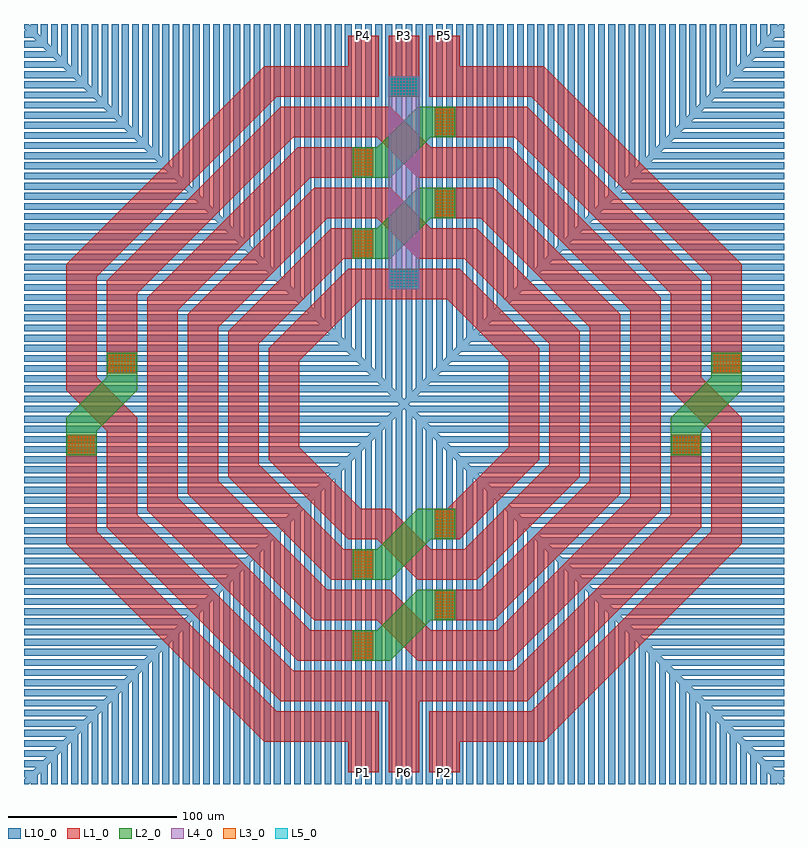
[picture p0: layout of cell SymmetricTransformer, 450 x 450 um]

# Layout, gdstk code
import gdstk
lib = gdstk.Library(unit=1e-6, precision=1e-09)
def R(c, l, rs):  # rectangles x0, y0, x1, y1
    for r in rs: c.add(gdstk.rectangle(r[:2], r[2:], *l))
def A(c, l, x, y, w, h, nx, ny, dx, dy):  # array of equal rectangles
    R(c, l, [(x+i*dx, y+j*dy, x+i*dx+w, y+j*dy+h) for i in range(nx) for j in range(ny)])
def P(c, l, *ps):  # polygons
    for p in ps: c.add(gdstk.Polygon(p, *l))
L1_0 = (1, 0)
L2_0 = (2, 0)
L3_0 = (3, 0)
L4_0 = (4, 0)
L5_0 = (5, 0)
L10_0 = (10, 0)

symmetrictransformer = lib.new_cell('SymmetricTransformer')
A(symmetrictransformer, L1_0, -152, -18.213, 18, 36.426, 4, 1, 24, 0)
A(symmetrictransformer, L1_0, 62, -18.213, 18, 36.426, 4, 1, 24, 0)
R(symmetrictransformer, L1_0, [(-9,-218,9,-182), (-9,-194,9,-176), (-18.213,-176,18.213,-158), (-18.213,62,18.213,80), (-9,68,9,80), (-9,182,9,218)])
P(symmetrictransformer, L1_0, [(-18.213,200),(-82.843,200),(-200,82.843),(-200,18.213),(-182,18.213),(-182,75.387),(-75.387,182),(-18.213,182)],
  [(-200,-18.213),(-200,-82.843),(-82.843,-200),(-18.213,-200),(-18.213,-182),(-75.387,-182),(-182,-75.387),(-182,-18.213)],
  [(200,18.213),(200,82.843),(82.843,200),(18.213,200),(18.213,182),(75.387,182),(182,75.387),(182,18.213)],
  [(18.213,-200),(82.843,-200),(200,-82.843),(200,-18.213),(182,-18.213),(182,-75.387),(75.387,-182),(18.213,-182)],
  [(-176,-18.213),(-176,-15.728),(-200,8.272),(-200,18.213),(-182,18.213),(-182,15.728),(-158,-8.272),(-158,-18.213)],
  [(182,-18.213),(182,-15.728),(158,8.272),(158,18.213),(176,18.213),(176,15.728),(200,-8.272),(200,-18.213)],
  [(-18.213,176),(-72.902,176),(-176,72.902),(-176,18.213),(-158,18.213),(-158,65.446),(-65.446,158),(-18.213,158)],
  [(-176,-18.213),(-176,-72.902),(-72.902,-176),(-18.213,-176),(-18.213,-158),(-65.446,-158),(-158,-65.446),(-158,-18.213)],
  [(176,18.213),(176,72.902),(72.902,176),(18.213,176),(18.213,158),(65.446,158),(158,65.446),(158,18.213)],
  [(18.213,-176),(72.902,-176),(176,-72.902),(176,-18.213),(158,-18.213),(158,-65.446),(65.446,-158),(18.213,-158)],
  [(18.213,152),(15.728,152),(-8.272,176),(-18.213,176),(-18.213,158),(-15.728,158),(8.272,134),(18.213,134)],
  [(-18.213,152),(-62.96,152),(-152,62.96),(-152,18.213),(-134,18.213),(-134,55.505),(-55.505,134),(-18.213,134)],
  [(-152,-18.213),(-152,-62.96),(-62.96,-152),(-18.213,-152),(-18.213,-134),(-55.505,-134),(-134,-55.505),(-134,-18.213)],
  [(152,18.213),(152,62.96),(62.96,152),(18.213,152),(18.213,134),(55.505,134),(134,55.505),(134,18.213)],
  [(18.213,-152),(62.96,-152),(152,-62.96),(152,-18.213),(134,-18.213),(134,-55.505),(55.505,-134),(18.213,-134)],
  [(18.213,-134),(15.728,-134),(-8.272,-110),(-18.213,-110),(-18.213,-128),(-15.728,-128),(8.272,-152),(18.213,-152)],
  [(-18.213,128),(-53.019,128),(-128,53.019),(-128,18.213),(-110,18.213),(-110,45.563),(-45.563,110),(-18.213,110)],
  [(-128,-18.213),(-128,-53.019),(-53.019,-128),(-18.213,-128),(-18.213,-110),(-45.563,-110),(-110,-45.563),(-110,-18.213)],
  [(128,18.213),(128,53.019),(53.019,128),(18.213,128),(18.213,110),(45.563,110),(110,45.563),(110,18.213)],
  [(18.213,-128),(53.019,-128),(128,-53.019),(128,-18.213),(110,-18.213),(110,-45.563),(45.563,-110),(18.213,-110)],
  [(18.213,104),(15.728,104),(-8.272,128),(-18.213,128),(-18.213,110),(-15.728,110),(8.272,86),(18.213,86)],
  [(-18.213,104),(-43.078,104),(-104,43.078),(-104,18.213),(-86,18.213),(-86,35.622),(-35.622,86),(-18.213,86)],
  [(-104,-18.213),(-104,-43.078),(-43.078,-104),(-18.213,-104),(-18.213,-86),(-35.622,-86),(-86,-35.622),(-86,-18.213)],
  [(104,18.213),(104,43.078),(43.078,104),(18.213,104),(18.213,86),(35.622,86),(86,35.622),(86,18.213)],
  [(18.213,-104),(43.078,-104),(104,-43.078),(104,-18.213),(86,-18.213),(86,-35.622),(35.622,-86),(18.213,-86)],
  [(18.213,-86),(15.728,-86),(-8.272,-62),(-18.213,-62),(-18.213,-80),(-15.728,-80),(8.272,-104),(18.213,-104)],
  [(-18.213,80),(-33.137,80),(-80,33.137),(-80,18.213),(-62,18.213),(-62,25.681),(-25.681,62),(-18.213,62)],
  [(-80,-18.213),(-80,-33.137),(-33.137,-80),(-18.213,-80),(-18.213,-62),(-25.681,-62),(-62,-25.681),(-62,-18.213)],
  [(80,18.213),(80,33.137),(33.137,80),(18.213,80),(18.213,62),(25.681,62),(62,25.681),(62,18.213)],
  [(18.213,-80),(33.137,-80),(80,-33.137),(80,-18.213),(62,-18.213),(62,-25.681),(25.681,-62),(18.213,-62)],
  [(-18.213,-182),(-15,-182),(-15,-218),(-33,-218),(-33,-200),(-18.213,-200)],
  [(18.213,-182),(15,-182),(15,-218),(33,-218),(33,-200),(18.213,-200)],
  [(-18.213,182),(-15,182),(-15,218),(-33,218),(-33,200),(-18.213,200)],
  [(18.213,182),(15,182),(15,218),(33,218),(33,200),(18.213,200)])
R(symmetrictransformer, L2_0, [(-9,68,9,80), (-9,182,9,194)])
P(symmetrictransformer, L2_0, [(176,-30.213),(176,-18.213),(176,-15.728),(200,8.272),(200,18.213),(200,30.213),(182,30.213),(182,18.213),(182,15.728),(158,-8.272),(158,-18.213),(158,-30.213)],
  [(-182,-30.213),(-182,-18.213),(-182,-15.728),(-158,8.272),(-158,18.213),(-158,30.213),(-176,30.213),(-176,18.213),(-176,15.728),(-200,-8.272),(-200,-18.213),(-200,-30.213)],
  [(-30.213,152),(-18.213,152),(-15.728,152),(8.272,176),(18.213,176),(30.213,176),(30.213,158),(18.213,158),(15.728,158),(-8.272,134),(-18.213,134),(-30.213,134)],
  [(-30.213,-134),(-18.213,-134),(-15.728,-134),(8.272,-110),(18.213,-110),(30.213,-110),(30.213,-128),(18.213,-128),(15.728,-128),(-8.272,-152),(-18.213,-152),(-30.213,-152)],
  [(-30.213,104),(-18.213,104),(-15.728,104),(8.272,128),(18.213,128),(30.213,128),(30.213,110),(18.213,110),(15.728,110),(-8.272,86),(-18.213,86),(-30.213,86)],
  [(-30.213,-86),(-18.213,-86),(-15.728,-86),(8.272,-62),(18.213,-62),(30.213,-62),(30.213,-80),(18.213,-80),(15.728,-80),(-8.272,-104),(-18.213,-104),(-30.213,-104)])
A(symmetrictransformer, L3_0, -29.213, -150.7, 1, 1, 6, 9, 1.8, 1.8)
A(symmetrictransformer, L3_0, 19.213, -126.7, 1, 1, 6, 9, 1.8, 1.8)
A(symmetrictransformer, L3_0, -29.213, -102.7, 1, 1, 6, 9, 1.8, 1.8)
A(symmetrictransformer, L3_0, 19.213, -78.7, 1, 1, 6, 9, 1.8, 1.8)
A(symmetrictransformer, L3_0, -198.7, -29.213, 1, 1, 9, 6, 1.8, 1.8)
A(symmetrictransformer, L3_0, 159.3, -29.213, 1, 1, 9, 6, 1.8, 1.8)
A(symmetrictransformer, L3_0, -174.7, 19.213, 1, 1, 9, 6, 1.8, 1.8)
A(symmetrictransformer, L3_0, 183.3, 19.213, 1, 1, 9, 6, 1.8, 1.8)
A(symmetrictransformer, L3_0, -7.7, 69, 1, 1, 9, 6, 1.8, 1.8)
A(symmetrictransformer, L3_0, -29.213, 87.3, 1, 1, 6, 9, 1.8, 1.8)
A(symmetrictransformer, L3_0, 19.213, 111.3, 1, 1, 6, 9, 1.8, 1.8)
A(symmetrictransformer, L3_0, -29.213, 135.3, 1, 1, 6, 9, 1.8, 1.8)
A(symmetrictransformer, L3_0, 19.213, 159.3, 1, 1, 6, 9, 1.8, 1.8)
A(symmetrictransformer, L3_0, -7.7, 183, 1, 1, 9, 6, 1.8, 1.8)
R(symmetrictransformer, L4_0, [(-9,68,9,80), (-9,80,9,194), (-9,182,9,194)])
A(symmetrictransformer, L5_0, -7.7, 69, 1, 1, 9, 6, 1.8, 1.8)
A(symmetrictransformer, L5_0, -7.7, 183, 1, 1, 9, 6, 1.8, 1.8)
P(symmetrictransformer, L10_0, [(-3.828,1),(-225,1),(-225,5),(-7.828,5)],
  [(3.828,1),(225,1),(225,5),(7.828,5)],
  [(-3.828,-1),(-225,-1),(-225,-5),(-7.828,-5)],
  [(3.828,-1),(225,-1),(225,-5),(7.828,-5)],
  [(1,-3.828),(1,-225),(5,-225),(5,-7.828)],
  [(-1,-3.828),(-1,-225),(-5,-225),(-5,-7.828)],
  [(1,3.828),(1,225),(5,225),(5,7.828)],
  [(-1,3.828),(-1,225),(-5,225),(-5,7.828)],
  [(-9.828,7),(-225,7),(-225,11),(-13.828,11)],
  [(9.828,7),(225,7),(225,11),(13.828,11)],
  [(-9.828,-7),(-225,-7),(-225,-11),(-13.828,-11)],
  [(9.828,-7),(225,-7),(225,-11),(13.828,-11)],
  [(7,-9.828),(7,-225),(11,-225),(11,-13.828)],
  [(-7,-9.828),(-7,-225),(-11,-225),(-11,-13.828)],
  [(7,9.828),(7,225),(11,225),(11,13.828)],
  [(-7,9.828),(-7,225),(-11,225),(-11,13.828)],
  [(-15.828,13),(-225,13),(-225,17),(-19.828,17)],
  [(15.828,13),(225,13),(225,17),(19.828,17)],
  [(-15.828,-13),(-225,-13),(-225,-17),(-19.828,-17)],
  [(15.828,-13),(225,-13),(225,-17),(19.828,-17)],
  [(13,-15.828),(13,-225),(17,-225),(17,-19.828)],
  [(-13,-15.828),(-13,-225),(-17,-225),(-17,-19.828)],
  [(13,15.828),(13,225),(17,225),(17,19.828)],
  [(-13,15.828),(-13,225),(-17,225),(-17,19.828)],
  [(-21.828,19),(-225,19),(-225,23),(-25.828,23)],
  [(21.828,19),(225,19),(225,23),(25.828,23)],
  [(-21.828,-19),(-225,-19),(-225,-23),(-25.828,-23)],
  [(21.828,-19),(225,-19),(225,-23),(25.828,-23)],
  [(19,-21.828),(19,-225),(23,-225),(23,-25.828)],
  [(-19,-21.828),(-19,-225),(-23,-225),(-23,-25.828)],
  [(19,21.828),(19,225),(23,225),(23,25.828)],
  [(-19,21.828),(-19,225),(-23,225),(-23,25.828)],
  [(-27.828,25),(-225,25),(-225,29),(-31.828,29)],
  [(27.828,25),(225,25),(225,29),(31.828,29)],
  [(-27.828,-25),(-225,-25),(-225,-29),(-31.828,-29)],
  [(27.828,-25),(225,-25),(225,-29),(31.828,-29)],
  [(25,-27.828),(25,-225),(29,-225),(29,-31.828)],
  [(-25,-27.828),(-25,-225),(-29,-225),(-29,-31.828)],
  [(25,27.828),(25,225),(29,225),(29,31.828)],
  [(-25,27.828),(-25,225),(-29,225),(-29,31.828)],
  [(-33.828,31),(-225,31),(-225,35),(-37.828,35)],
  [(33.828,31),(225,31),(225,35),(37.828,35)],
  [(-33.828,-31),(-225,-31),(-225,-35),(-37.828,-35)],
  [(33.828,-31),(225,-31),(225,-35),(37.828,-35)],
  [(31,-33.828),(31,-225),(35,-225),(35,-37.828)],
  [(-31,-33.828),(-31,-225),(-35,-225),(-35,-37.828)],
  [(31,33.828),(31,225),(35,225),(35,37.828)],
  [(-31,33.828),(-31,225),(-35,225),(-35,37.828)],
  [(-39.828,37),(-225,37),(-225,41),(-43.828,41)],
  [(39.828,37),(225,37),(225,41),(43.828,41)],
  [(-39.828,-37),(-225,-37),(-225,-41),(-43.828,-41)],
  [(39.828,-37),(225,-37),(225,-41),(43.828,-41)],
  [(37,-39.828),(37,-225),(41,-225),(41,-43.828)],
  [(-37,-39.828),(-37,-225),(-41,-225),(-41,-43.828)],
  [(37,39.828),(37,225),(41,225),(41,43.828)],
  [(-37,39.828),(-37,225),(-41,225),(-41,43.828)],
  [(-45.828,43),(-225,43),(-225,47),(-49.828,47)],
  [(45.828,43),(225,43),(225,47),(49.828,47)],
  [(-45.828,-43),(-225,-43),(-225,-47),(-49.828,-47)],
  [(45.828,-43),(225,-43),(225,-47),(49.828,-47)],
  [(43,-45.828),(43,-225),(47,-225),(47,-49.828)],
  [(-43,-45.828),(-43,-225),(-47,-225),(-47,-49.828)],
  [(43,45.828),(43,225),(47,225),(47,49.828)],
  [(-43,45.828),(-43,225),(-47,225),(-47,49.828)],
  [(-51.828,49),(-225,49),(-225,53),(-55.828,53)],
  [(51.828,49),(225,49),(225,53),(55.828,53)],
  [(-51.828,-49),(-225,-49),(-225,-53),(-55.828,-53)],
  [(51.828,-49),(225,-49),(225,-53),(55.828,-53)],
  [(49,-51.828),(49,-225),(53,-225),(53,-55.828)],
  [(-49,-51.828),(-49,-225),(-53,-225),(-53,-55.828)],
  [(49,51.828),(49,225),(53,225),(53,55.828)],
  [(-49,51.828),(-49,225),(-53,225),(-53,55.828)],
  [(-57.828,55),(-225,55),(-225,59),(-61.828,59)],
  [(57.828,55),(225,55),(225,59),(61.828,59)],
  [(-57.828,-55),(-225,-55),(-225,-59),(-61.828,-59)],
  [(57.828,-55),(225,-55),(225,-59),(61.828,-59)],
  [(55,-57.828),(55,-225),(59,-225),(59,-61.828)],
  [(-55,-57.828),(-55,-225),(-59,-225),(-59,-61.828)],
  [(55,57.828),(55,225),(59,225),(59,61.828)],
  [(-55,57.828),(-55,225),(-59,225),(-59,61.828)],
  [(-63.828,61),(-225,61),(-225,65),(-67.828,65)],
  [(63.828,61),(225,61),(225,65),(67.828,65)],
  [(-63.828,-61),(-225,-61),(-225,-65),(-67.828,-65)],
  [(63.828,-61),(225,-61),(225,-65),(67.828,-65)],
  [(61,-63.828),(61,-225),(65,-225),(65,-67.828)],
  [(-61,-63.828),(-61,-225),(-65,-225),(-65,-67.828)],
  [(61,63.828),(61,225),(65,225),(65,67.828)],
  [(-61,63.828),(-61,225),(-65,225),(-65,67.828)],
  [(-69.828,67),(-225,67),(-225,71),(-73.828,71)],
  [(69.828,67),(225,67),(225,71),(73.828,71)],
  [(-69.828,-67),(-225,-67),(-225,-71),(-73.828,-71)],
  [(69.828,-67),(225,-67),(225,-71),(73.828,-71)],
  [(67,-69.828),(67,-225),(71,-225),(71,-73.828)],
  [(-67,-69.828),(-67,-225),(-71,-225),(-71,-73.828)],
  [(67,69.828),(67,225),(71,225),(71,73.828)],
  [(-67,69.828),(-67,225),(-71,225),(-71,73.828)],
  [(-75.828,73),(-225,73),(-225,77),(-79.828,77)],
  [(75.828,73),(225,73),(225,77),(79.828,77)],
  [(-75.828,-73),(-225,-73),(-225,-77),(-79.828,-77)],
  [(75.828,-73),(225,-73),(225,-77),(79.828,-77)],
  [(73,-75.828),(73,-225),(77,-225),(77,-79.828)],
  [(-73,-75.828),(-73,-225),(-77,-225),(-77,-79.828)],
  [(73,75.828),(73,225),(77,225),(77,79.828)],
  [(-73,75.828),(-73,225),(-77,225),(-77,79.828)],
  [(-81.828,79),(-225,79),(-225,83),(-85.828,83)],
  [(81.828,79),(225,79),(225,83),(85.828,83)],
  [(-81.828,-79),(-225,-79),(-225,-83),(-85.828,-83)],
  [(81.828,-79),(225,-79),(225,-83),(85.828,-83)],
  [(79,-81.828),(79,-225),(83,-225),(83,-85.828)],
  [(-79,-81.828),(-79,-225),(-83,-225),(-83,-85.828)],
  [(79,81.828),(79,225),(83,225),(83,85.828)],
  [(-79,81.828),(-79,225),(-83,225),(-83,85.828)],
  [(-87.828,85),(-225,85),(-225,89),(-91.828,89)],
  [(87.828,85),(225,85),(225,89),(91.828,89)],
  [(-87.828,-85),(-225,-85),(-225,-89),(-91.828,-89)],
  [(87.828,-85),(225,-85),(225,-89),(91.828,-89)],
  [(85,-87.828),(85,-225),(89,-225),(89,-91.828)],
  [(-85,-87.828),(-85,-225),(-89,-225),(-89,-91.828)],
  [(85,87.828),(85,225),(89,225),(89,91.828)],
  [(-85,87.828),(-85,225),(-89,225),(-89,91.828)],
  [(-93.828,91),(-225,91),(-225,95),(-97.828,95)],
  [(93.828,91),(225,91),(225,95),(97.828,95)],
  [(-93.828,-91),(-225,-91),(-225,-95),(-97.828,-95)],
  [(93.828,-91),(225,-91),(225,-95),(97.828,-95)],
  [(91,-93.828),(91,-225),(95,-225),(95,-97.828)],
  [(-91,-93.828),(-91,-225),(-95,-225),(-95,-97.828)],
  [(91,93.828),(91,225),(95,225),(95,97.828)],
  [(-91,93.828),(-91,225),(-95,225),(-95,97.828)],
  [(-99.828,97),(-225,97),(-225,101),(-103.828,101)],
  [(99.828,97),(225,97),(225,101),(103.828,101)],
  [(-99.828,-97),(-225,-97),(-225,-101),(-103.828,-101)],
  [(99.828,-97),(225,-97),(225,-101),(103.828,-101)],
  [(97,-99.828),(97,-225),(101,-225),(101,-103.828)],
  [(-97,-99.828),(-97,-225),(-101,-225),(-101,-103.828)],
  [(97,99.828),(97,225),(101,225),(101,103.828)],
  [(-97,99.828),(-97,225),(-101,225),(-101,103.828)],
  [(-105.828,103),(-225,103),(-225,107),(-109.828,107)],
  [(105.828,103),(225,103),(225,107),(109.828,107)],
  [(-105.828,-103),(-225,-103),(-225,-107),(-109.828,-107)],
  [(105.828,-103),(225,-103),(225,-107),(109.828,-107)],
  [(103,-105.828),(103,-225),(107,-225),(107,-109.828)],
  [(-103,-105.828),(-103,-225),(-107,-225),(-107,-109.828)],
  [(103,105.828),(103,225),(107,225),(107,109.828)],
  [(-103,105.828),(-103,225),(-107,225),(-107,109.828)],
  [(-111.828,109),(-225,109),(-225,113),(-115.828,113)],
  [(111.828,109),(225,109),(225,113),(115.828,113)],
  [(-111.828,-109),(-225,-109),(-225,-113),(-115.828,-113)],
  [(111.828,-109),(225,-109),(225,-113),(115.828,-113)],
  [(109,-111.828),(109,-225),(113,-225),(113,-115.828)],
  [(-109,-111.828),(-109,-225),(-113,-225),(-113,-115.828)],
  [(109,111.828),(109,225),(113,225),(113,115.828)],
  [(-109,111.828),(-109,225),(-113,225),(-113,115.828)],
  [(-117.828,115),(-225,115),(-225,119),(-121.828,119)],
  [(117.828,115),(225,115),(225,119),(121.828,119)],
  [(-117.828,-115),(-225,-115),(-225,-119),(-121.828,-119)],
  [(117.828,-115),(225,-115),(225,-119),(121.828,-119)],
  [(115,-117.828),(115,-225),(119,-225),(119,-121.828)],
  [(-115,-117.828),(-115,-225),(-119,-225),(-119,-121.828)],
  [(115,117.828),(115,225),(119,225),(119,121.828)],
  [(-115,117.828),(-115,225),(-119,225),(-119,121.828)],
  [(-123.828,121),(-225,121),(-225,125),(-127.828,125)],
  [(123.828,121),(225,121),(225,125),(127.828,125)],
  [(-123.828,-121),(-225,-121),(-225,-125),(-127.828,-125)],
  [(123.828,-121),(225,-121),(225,-125),(127.828,-125)],
  [(121,-123.828),(121,-225),(125,-225),(125,-127.828)],
  [(-121,-123.828),(-121,-225),(-125,-225),(-125,-127.828)],
  [(121,123.828),(121,225),(125,225),(125,127.828)],
  [(-121,123.828),(-121,225),(-125,225),(-125,127.828)],
  [(-129.828,127),(-225,127),(-225,131),(-133.828,131)],
  [(129.828,127),(225,127),(225,131),(133.828,131)],
  [(-129.828,-127),(-225,-127),(-225,-131),(-133.828,-131)],
  [(129.828,-127),(225,-127),(225,-131),(133.828,-131)],
  [(127,-129.828),(127,-225),(131,-225),(131,-133.828)],
  [(-127,-129.828),(-127,-225),(-131,-225),(-131,-133.828)],
  [(127,129.828),(127,225),(131,225),(131,133.828)],
  [(-127,129.828),(-127,225),(-131,225),(-131,133.828)],
  [(-135.828,133),(-225,133),(-225,137),(-139.828,137)],
  [(135.828,133),(225,133),(225,137),(139.828,137)],
  [(-135.828,-133),(-225,-133),(-225,-137),(-139.828,-137)],
  [(135.828,-133),(225,-133),(225,-137),(139.828,-137)],
  [(133,-135.828),(133,-225),(137,-225),(137,-139.828)],
  [(-133,-135.828),(-133,-225),(-137,-225),(-137,-139.828)],
  [(133,135.828),(133,225),(137,225),(137,139.828)],
  [(-133,135.828),(-133,225),(-137,225),(-137,139.828)],
  [(-141.828,139),(-225,139),(-225,143),(-145.828,143)],
  [(141.828,139),(225,139),(225,143),(145.828,143)],
  [(-141.828,-139),(-225,-139),(-225,-143),(-145.828,-143)],
  [(141.828,-139),(225,-139),(225,-143),(145.828,-143)],
  [(139,-141.828),(139,-225),(143,-225),(143,-145.828)],
  [(-139,-141.828),(-139,-225),(-143,-225),(-143,-145.828)],
  [(139,141.828),(139,225),(143,225),(143,145.828)],
  [(-139,141.828),(-139,225),(-143,225),(-143,145.828)],
  [(-147.828,145),(-225,145),(-225,149),(-151.828,149)],
  [(147.828,145),(225,145),(225,149),(151.828,149)],
  [(-147.828,-145),(-225,-145),(-225,-149),(-151.828,-149)],
  [(147.828,-145),(225,-145),(225,-149),(151.828,-149)],
  [(145,-147.828),(145,-225),(149,-225),(149,-151.828)],
  [(-145,-147.828),(-145,-225),(-149,-225),(-149,-151.828)],
  [(145,147.828),(145,225),(149,225),(149,151.828)],
  [(-145,147.828),(-145,225),(-149,225),(-149,151.828)],
  [(-153.828,151),(-225,151),(-225,155),(-157.828,155)],
  [(153.828,151),(225,151),(225,155),(157.828,155)],
  [(-153.828,-151),(-225,-151),(-225,-155),(-157.828,-155)],
  [(153.828,-151),(225,-151),(225,-155),(157.828,-155)],
  [(151,-153.828),(151,-225),(155,-225),(155,-157.828)],
  [(-151,-153.828),(-151,-225),(-155,-225),(-155,-157.828)],
  [(151,153.828),(151,225),(155,225),(155,157.828)],
  [(-151,153.828),(-151,225),(-155,225),(-155,157.828)],
  [(-159.828,157),(-225,157),(-225,161),(-163.828,161)],
  [(159.828,157),(225,157),(225,161),(163.828,161)],
  [(-159.828,-157),(-225,-157),(-225,-161),(-163.828,-161)],
  [(159.828,-157),(225,-157),(225,-161),(163.828,-161)],
  [(157,-159.828),(157,-225),(161,-225),(161,-163.828)],
  [(-157,-159.828),(-157,-225),(-161,-225),(-161,-163.828)],
  [(157,159.828),(157,225),(161,225),(161,163.828)],
  [(-157,159.828),(-157,225),(-161,225),(-161,163.828)],
  [(-165.828,163),(-225,163),(-225,167),(-169.828,167)],
  [(165.828,163),(225,163),(225,167),(169.828,167)],
  [(-165.828,-163),(-225,-163),(-225,-167),(-169.828,-167)],
  [(165.828,-163),(225,-163),(225,-167),(169.828,-167)],
  [(163,-165.828),(163,-225),(167,-225),(167,-169.828)],
  [(-163,-165.828),(-163,-225),(-167,-225),(-167,-169.828)],
  [(163,165.828),(163,225),(167,225),(167,169.828)],
  [(-163,165.828),(-163,225),(-167,225),(-167,169.828)],
  [(-171.828,169),(-225,169),(-225,173),(-175.828,173)],
  [(171.828,169),(225,169),(225,173),(175.828,173)],
  [(-171.828,-169),(-225,-169),(-225,-173),(-175.828,-173)],
  [(171.828,-169),(225,-169),(225,-173),(175.828,-173)],
  [(169,-171.828),(169,-225),(173,-225),(173,-175.828)],
  [(-169,-171.828),(-169,-225),(-173,-225),(-173,-175.828)],
  [(169,171.828),(169,225),(173,225),(173,175.828)],
  [(-169,171.828),(-169,225),(-173,225),(-173,175.828)],
  [(-177.828,175),(-225,175),(-225,179),(-181.828,179)],
  [(177.828,175),(225,175),(225,179),(181.828,179)],
  [(-177.828,-175),(-225,-175),(-225,-179),(-181.828,-179)],
  [(177.828,-175),(225,-175),(225,-179),(181.828,-179)],
  [(175,-177.828),(175,-225),(179,-225),(179,-181.828)],
  [(-175,-177.828),(-175,-225),(-179,-225),(-179,-181.828)],
  [(175,177.828),(175,225),(179,225),(179,181.828)],
  [(-175,177.828),(-175,225),(-179,225),(-179,181.828)],
  [(-183.828,181),(-225,181),(-225,185),(-187.828,185)],
  [(183.828,181),(225,181),(225,185),(187.828,185)],
  [(-183.828,-181),(-225,-181),(-225,-185),(-187.828,-185)],
  [(183.828,-181),(225,-181),(225,-185),(187.828,-185)],
  [(181,-183.828),(181,-225),(185,-225),(185,-187.828)],
  [(-181,-183.828),(-181,-225),(-185,-225),(-185,-187.828)],
  [(181,183.828),(181,225),(185,225),(185,187.828)],
  [(-181,183.828),(-181,225),(-185,225),(-185,187.828)],
  [(-189.828,187),(-225,187),(-225,191),(-193.828,191)],
  [(189.828,187),(225,187),(225,191),(193.828,191)],
  [(-189.828,-187),(-225,-187),(-225,-191),(-193.828,-191)],
  [(189.828,-187),(225,-187),(225,-191),(193.828,-191)],
  [(187,-189.828),(187,-225),(191,-225),(191,-193.828)],
  [(-187,-189.828),(-187,-225),(-191,-225),(-191,-193.828)],
  [(187,189.828),(187,225),(191,225),(191,193.828)],
  [(-187,189.828),(-187,225),(-191,225),(-191,193.828)],
  [(-195.828,193),(-225,193),(-225,197),(-199.828,197)],
  [(195.828,193),(225,193),(225,197),(199.828,197)],
  [(-195.828,-193),(-225,-193),(-225,-197),(-199.828,-197)],
  [(195.828,-193),(225,-193),(225,-197),(199.828,-197)],
  [(193,-195.828),(193,-225),(197,-225),(197,-199.828)],
  [(-193,-195.828),(-193,-225),(-197,-225),(-197,-199.828)],
  [(193,195.828),(193,225),(197,225),(197,199.828)],
  [(-193,195.828),(-193,225),(-197,225),(-197,199.828)],
  [(-201.828,199),(-225,199),(-225,203),(-205.828,203)],
  [(201.828,199),(225,199),(225,203),(205.828,203)],
  [(-201.828,-199),(-225,-199),(-225,-203),(-205.828,-203)],
  [(201.828,-199),(225,-199),(225,-203),(205.828,-203)],
  [(199,-201.828),(199,-225),(203,-225),(203,-205.828)],
  [(-199,-201.828),(-199,-225),(-203,-225),(-203,-205.828)],
  [(199,201.828),(199,225),(203,225),(203,205.828)],
  [(-199,201.828),(-199,225),(-203,225),(-203,205.828)],
  [(-207.828,205),(-225,205),(-225,209),(-211.828,209)],
  [(207.828,205),(225,205),(225,209),(211.828,209)],
  [(-207.828,-205),(-225,-205),(-225,-209),(-211.828,-209)],
  [(207.828,-205),(225,-205),(225,-209),(211.828,-209)],
  [(205,-207.828),(205,-225),(209,-225),(209,-211.828)],
  [(-205,-207.828),(-205,-225),(-209,-225),(-209,-211.828)],
  [(205,207.828),(205,225),(209,225),(209,211.828)],
  [(-205,207.828),(-205,225),(-209,225),(-209,211.828)],
  [(-213.828,211),(-225,211),(-225,215),(-217.828,215)],
  [(213.828,211),(225,211),(225,215),(217.828,215)],
  [(-213.828,-211),(-225,-211),(-225,-215),(-217.828,-215)],
  [(213.828,-211),(225,-211),(225,-215),(217.828,-215)],
  [(211,-213.828),(211,-225),(215,-225),(215,-217.828)],
  [(-211,-213.828),(-211,-225),(-215,-225),(-215,-217.828)],
  [(211,213.828),(211,225),(215,225),(215,217.828)],
  [(-211,213.828),(-211,225),(-215,225),(-215,217.828)],
  [(-219.828,217),(-225,217),(-225,221),(-223.828,221)],
  [(219.828,217),(225,217),(225,221),(223.828,221)],
  [(-219.828,-217),(-225,-217),(-225,-221),(-223.828,-221)],
  [(219.828,-217),(225,-217),(225,-221),(223.828,-221)],
  [(217,-219.828),(217,-225),(221,-225),(221,-223.828)],
  [(-217,-219.828),(-217,-225),(-221,-225),(-221,-223.828)],
  [(217,219.828),(217,225),(221,225),(221,223.828)],
  [(-217,219.828),(-217,225),(-221,225),(-221,223.828)],
  [(225,225),(222.172,225),(0,2.828),(0,0),(2.828,0),(225,222.172)],
  [(-225,225),(-222.172,225),(0,2.828),(0,0),(-2.828,0),(-225,222.172)],
  [(-225,-225),(-222.172,-225),(0,-2.828),(0,0),(-2.828,0),(-225,-222.172)],
  [(225,-225),(222.172,-225),(0,-2.828),(0,0),(2.828,0),(225,-222.172)])
symmetrictransformer.add(gdstk.Label('P1', (-24,-218), layer=1, texttype=0))
symmetrictransformer.add(gdstk.Label('P2', (24,-218), layer=1, texttype=0))
symmetrictransformer.add(gdstk.Label('P3', (0,218), layer=1, texttype=0))
symmetrictransformer.add(gdstk.Label('P4', (-24,218), layer=1, texttype=0))
symmetrictransformer.add(gdstk.Label('P5', (24,218), layer=1, texttype=0))
symmetrictransformer.add(gdstk.Label('P6', (0,-218), layer=1, texttype=0))

lib.write_gds('SymmetricTransformer.gds')
